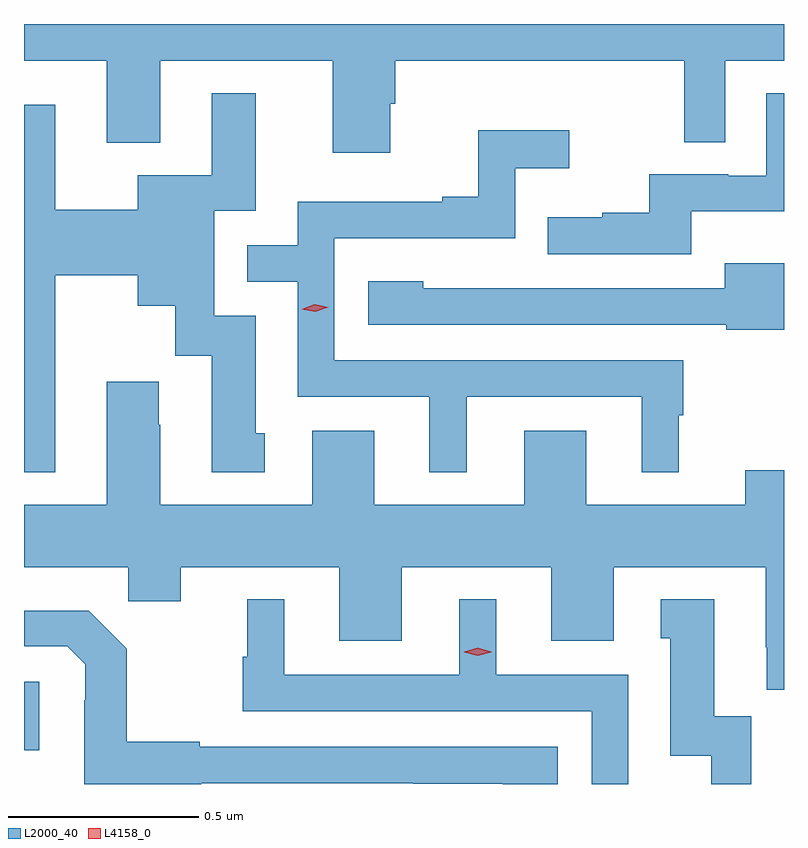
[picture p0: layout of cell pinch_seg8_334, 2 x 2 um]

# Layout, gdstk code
import gdstk
lib = gdstk.Library(unit=1e-6, precision=1e-09)
def R(c, l, rs):  # rectangles x0, y0, x1, y1
    for r in rs: c.add(gdstk.rectangle(r[:2], r[2:], *l))
def P(c, l, *ps):  # polygons
    for p in ps: c.add(gdstk.Polygon(p, *l))
L2000_40 = (2000, 40)
L4158_0 = (4158, 0)

pinch_seg8_334 = lib.new_cell('pinch_seg8_334')
R(pinch_seg8_334, L2000_40, [(605.715,1132.002,605.755,1132.182)])
P(pinch_seg8_334, L2000_40, [(606.679,1133.703),(606.692,1133.703),(606.692,1133.816),(607.452,1133.816),(607.452,1133.602),(607.56,1133.602),(607.56,1133.816),(607.715,1133.816),(607.715,1133.913),(605.715,1133.913),(605.715,1133.816),(605.933,1133.816),(605.933,1133.6),(606.073,1133.6),(606.073,1133.816),(606.527,1133.816),(606.527,1133.574),(606.679,1133.574)],
  [(607.471,1133.42),(607.715,1133.42),(607.715,1133.731),(607.668,1133.731),(607.668,1133.514),(607.568,1133.514),(607.568,1133.517),(607.361,1133.517),(607.361,1133.416),(607.237,1133.416),(607.237,1133.404),(607.093,1133.404),(607.093,1133.307),(607.471,1133.307)],
  [(605.797,1133.252),(606.014,1133.252),(606.014,1133.171),(606.113,1133.171),(606.113,1133.04),(606.209,1133.04),(606.209,1132.734),(606.349,1132.734),(606.349,1132.836),(606.325,1132.836),(606.325,1133.145),(606.216,1133.145),(606.216,1133.421),(606.325,1133.421),(606.325,1133.731),(606.209,1133.731),(606.209,1133.515),(606.014,1133.515),(606.014,1133.424),(605.797,1133.424),(605.797,1133.701),(605.715,1133.701),(605.715,1132.733),(605.797,1132.733)],
  [(606.88,1132.932),(607.34,1132.932),(607.34,1132.733),(607.438,1132.733),(607.438,1132.884),(607.45,1132.884),(607.45,1133.028),(606.531,1133.028),(606.531,1133.349),(607.008,1133.349),(607.008,1133.534),(607.15,1133.534),(607.15,1133.633),(606.91,1133.633),(606.91,1133.458),(606.815,1133.458),(606.815,1133.445),(606.435,1133.445),(606.435,1133.331),(606.302,1133.331),(606.302,1133.235),(606.435,1133.235),(606.435,1132.932),(606.782,1132.932),(606.782,1132.733),(606.88,1132.733)],
  [(607.715,1133.284),(607.559,1133.284),(607.559,1133.217),(607.001,1133.217),(607.001,1133.218),(606.765,1133.218),(606.765,1133.236),(606.621,1133.236),(606.621,1133.121),(607.563,1133.121),(607.563,1133.109),(607.715,1133.109)],
  [(607.715,1132.739),(607.613,1132.739),(607.613,1132.648),(607.195,1132.648),(607.195,1132.843),(607.031,1132.843),(607.031,1132.648),(606.637,1132.648),(606.637,1132.843),(606.473,1132.843),(606.473,1132.648),(606.073,1132.648),(606.073,1132.859),(606.07,1132.859),(606.07,1132.972),(605.933,1132.972),(605.933,1132.648),(605.715,1132.648),(605.715,1132.484),(605.989,1132.484),(605.989,1132.394),(606.127,1132.394),(606.127,1132.484),(606.545,1132.484),(606.545,1132.29),(606.709,1132.29),(606.709,1132.484),(607.103,1132.484),(607.103,1132.29),(607.267,1132.29),(607.267,1132.484),(607.667,1132.484),(607.667,1132.273),(607.67,1132.273),(607.67,1132.161),(607.715,1132.161)],
  [(607.305,1132.2),(606.958,1132.2),(606.958,1132.399),(606.86,1132.399),(606.86,1132.2),(606.4,1132.2),(606.4,1132.399),(606.302,1132.399),(606.302,1132.248),(606.291,1132.248),(606.291,1132.104),(607.209,1132.104),(607.209,1131.913),(607.305,1131.913)],
  [(607.629,1132.091),(607.531,1132.091),(607.531,1132.399),(607.391,1132.399),(607.391,1132.296),(607.415,1132.296),(607.415,1131.987),(607.524,1131.987),(607.524,1131.913),(607.629,1131.913)],
  [(606.181,1131.915),(606.739,1131.915),(606.739,1131.914),(606.975,1131.914),(606.975,1131.913),(607.12,1131.913),(607.12,1132.011),(606.177,1132.011),(606.177,1132.024),(605.985,1132.024),(605.985,1132.269),(605.885,1132.369),(605.715,1132.369),(605.715,1132.275),(605.829,1132.275),(605.876,1132.228),(605.876,1132.133),(605.874,1132.133),(605.874,1131.913),(606.181,1131.913)])
P(pinch_seg8_334, L4158_0, [(606.909,1132.251),(606.873,1132.26),(606.873,1132.261),(606.873,1132.261),(606.909,1132.271),(606.945,1132.261),(606.945,1132.261),(606.945,1132.26)],
  [(606.482,1133.156),(606.446,1133.163),(606.446,1133.163),(606.446,1133.163),(606.48,1133.176),(606.515,1133.168),(606.515,1133.168),(606.515,1133.168)])

lib.write_gds('pinch_seg8_334.gds')
